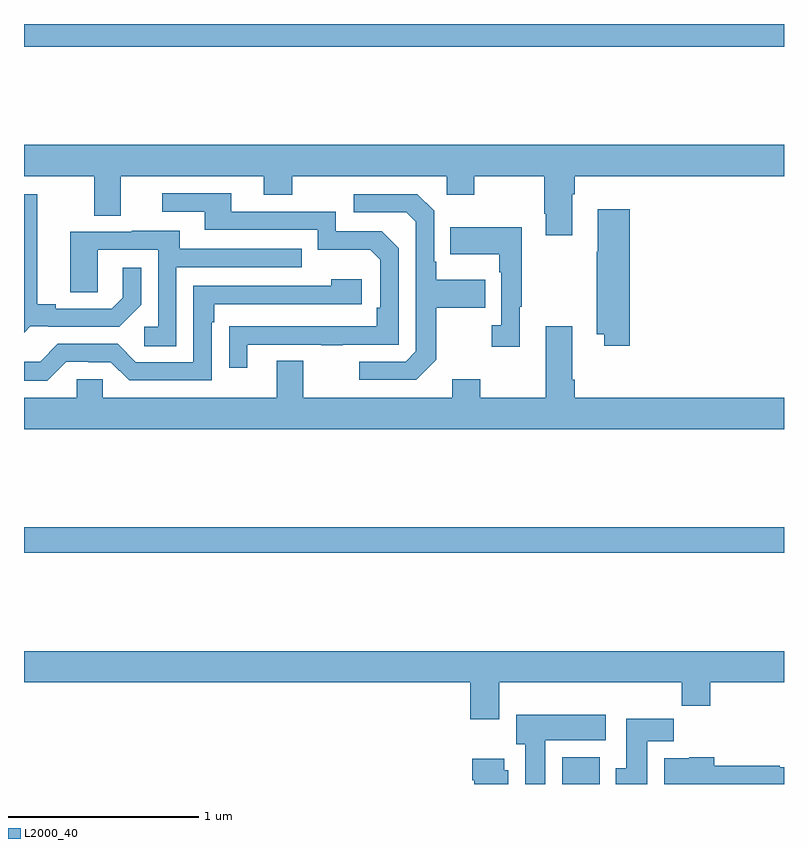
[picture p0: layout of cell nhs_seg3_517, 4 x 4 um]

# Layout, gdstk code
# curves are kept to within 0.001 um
import gdstk
lib = gdstk.Library(unit=1e-6, precision=1e-09)
def R(c, l, rs):  # rectangles x0, y0, x1, y1
    for r in rs: c.add(gdstk.rectangle(r[:2], r[2:], *l))
def P(c, l, *ps):  # polygons
    for p in ps: c.add(gdstk.Polygon(p, *l))
L2000_40 = (2000, 40)

nhs_seg3_517 = lib.new_cell('nhs_seg3_517')
R(nhs_seg3_517, L2000_40, [(139.833,680.4,140.029,680.542), (137,681.616,141,681.752), (137,684.28,141,684.4)])
P(nhs_seg3_517, L2000_40, [(139.885,683.504),(139.898,683.504),(139.898,683.6),(141,683.6),(141,683.764),(137,683.764),(137,683.6),(137.369,683.6),(137.369,683.392),(137.509,683.392),(137.509,683.6),(138.263,683.6),(138.263,683.501),(138.411,683.501),(138.411,683.6),(139.224,683.6),(139.224,683.501),(139.371,683.501),(139.371,683.6),(139.738,683.6),(139.738,683.401),(139.745,683.401),(139.745,683.289),(139.885,683.289)],
  [(138.175,682.713),(138.565,682.713),(138.565,682.708),(138.677,682.708),(138.677,682.713),(138.972,682.713),(138.972,683.22),(138.882,683.31),(138.642,683.31),(138.642,683.412),(138.091,683.412),(138.091,683.508),(137.727,683.508),(137.727,683.412),(137.951,683.412),(137.951,683.316),(138.546,683.316),(138.546,683.213),(138.823,683.213),(138.876,683.16),(138.876,682.906),(138.856,682.906),(138.856,682.809),(138.079,682.808),(138.079,682.59),(138.175,682.59)],
  [(137.034,682.809),(137.128,682.809),(137.128,682.806),(137.5,682.806),(137.616,682.922),(137.616,683.116),(137.519,683.116),(137.519,682.959),(137.462,682.902),(137.167,682.902),(137.167,682.925),(137.071,682.925),(137.071,683.505),(137,683.505),(137,682.775)],
  [(139.171,682.633),(139.171,682.906),(139.427,682.906),(139.427,683.053),(139.171,683.053),(139.171,683.149),(139.158,683.149),(139.158,683.418),(139.071,683.505),(138.735,683.505),(138.735,683.409),(139.011,683.409),(139.062,683.358),(139.062,682.677),(139.008,682.623),(138.765,682.623),(138.765,682.527),(139.065,682.527)],
  [(140.189,683.425),(140.021,683.425),(140.021,683.201),(140.014,683.201),(140.014,682.766),(140.054,682.766),(140.054,682.707),(140.189,682.707)],
  [(139.609,682.913),(139.621,682.913),(139.621,683.329),(139.243,683.329),(139.243,683.189),(139.5,683.189),(139.5,683.093),(139.512,683.093),(139.512,682.814),(139.461,682.814),(139.461,682.701),(139.609,682.701)],
  [(137.802,683.121),(138.461,683.121),(138.461,683.217),(137.821,683.217),(137.821,683.311),(137.567,683.311),(137.567,683.307),(137.243,683.307),(137.243,682.987),(137.388,682.987),(137.388,683.211),(137.706,683.211),(137.706,682.806),(137.634,682.806),(137.634,682.705),(137.802,682.705)],
  [(137.223,682.623),(137.339,682.623),(137.339,682.62),(137.457,682.62),(137.553,682.524),(137.988,682.524),(137.988,682.829),(138.001,682.829),(138.001,682.926),(138.778,682.926),(138.778,683.056),(138.617,683.056),(138.617,683.022),(137.892,683.022),(137.892,682.62),(137.589,682.62),(137.493,682.716),(137.178,682.716),(137.085,682.623),(137,682.623),(137,682.523),(137.123,682.523)],
  [(141,682.432),(139.898,682.432),(139.898,682.528),(139.885,682.528),(139.885,682.81),(139.745,682.81),(139.745,682.432),(139.401,682.432),(139.401,682.531),(139.253,682.531),(139.253,682.432),(138.469,682.432),(138.469,682.627),(138.329,682.627),(138.329,682.432),(137.415,682.432),(137.415,682.53),(137.277,682.53),(137.277,682.432),(137,682.432),(137,682.268),(141,682.268)],
  [(139.501,680.936),(140.461,680.936),(140.461,680.812),(140.613,680.812),(140.613,680.936),(141,680.936),(141,681.1),(137,681.1),(137,680.936),(139.349,680.936),(139.349,680.742),(139.501,680.742)],
  [(139.744,680.63),(140.062,680.63),(140.062,680.764),(139.592,680.764),(139.592,680.61),(139.637,680.61),(139.637,680.4),(139.744,680.4)],
  [(140.281,680.624),(140.42,680.624),(140.42,680.743),(140.171,680.743),(140.171,680.484),(140.114,680.484),(140.114,680.4),(140.281,680.4)],
  [(141,680.488),(140.978,680.488),(140.978,680.496),(140.633,680.496),(140.633,680.542),(140.502,680.542),(140.502,680.536),(140.369,680.536),(140.369,680.4),(141,680.4)],
  [(139.549,680.472),(139.528,680.472),(139.528,680.533),(139.358,680.533),(139.358,680.42),(139.37,680.42),(139.37,680.4),(139.549,680.4)])

lib.write_gds('nhs_seg3_517.gds')
